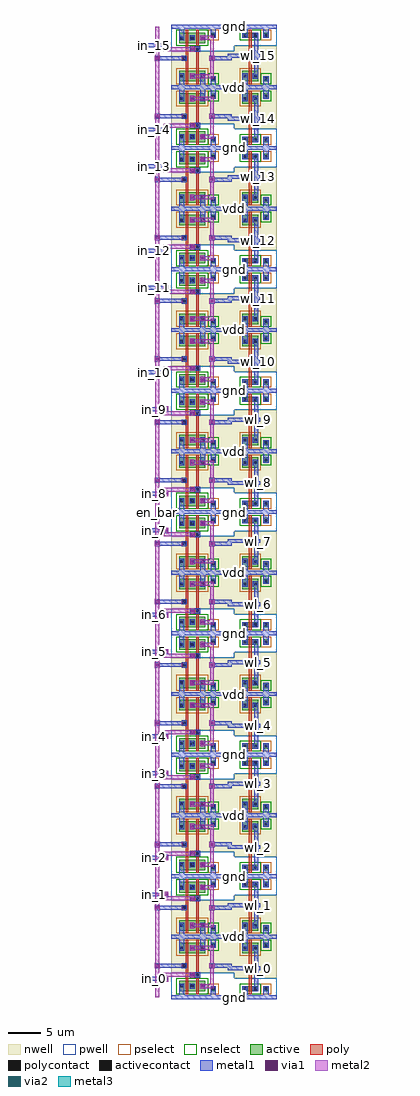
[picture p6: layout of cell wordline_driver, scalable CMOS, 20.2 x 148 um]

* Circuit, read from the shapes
.subckt wordline_driver en_bar gnd in_0 in_1 in_10 in_11 in_12 in_13 in_14 in_15 in_2 in_3 in_4 in_5 in_6 in_7 in_8 in_9 vdd wl_0 wl_1 wl_10 wl_11 wl_12 wl_13 wl_14 wl_15 wl_2 wl_3 wl_4 wl_5 wl_6 wl_7 wl_8 wl_9
M1 pnand2_3_0/nmos_m1_w1_6_a_p_2/D en_bar gnd gnd nfet w=1.6u l=0.4u
M2 pnand2_3_2/nmos_m1_w1_6_a_p_2/D en_bar gnd gnd nfet w=1.6u l=0.4u
M3 pnand2_3_4/nmos_m1_w1_6_a_p_2/D en_bar gnd gnd nfet w=1.6u l=0.4u
M4 pnand2_3_6/nmos_m1_w1_6_a_p_2/D en_bar gnd gnd nfet w=1.6u l=0.4u
M5 pnand2_3_8/nmos_m1_w1_6_a_p_2/D en_bar gnd gnd nfet w=1.6u l=0.4u
M6 pnand2_3_10/nmos_m1_w1_6_a_p_2/D en_bar gnd gnd nfet w=1.6u l=0.4u
M7 pnand2_3_12/nmos_m1_w1_6_a_p_2/D en_bar gnd gnd nfet w=1.6u l=0.4u
M8 pnand2_3_14/nmos_m1_w1_6_a_p_2/D en_bar gnd gnd nfet w=1.6u l=0.4u
M9 pnand2_3_16/nmos_m1_w1_6_a_p_2/D en_bar gnd gnd nfet w=1.6u l=0.4u
M10 pnand2_3_18/nmos_m1_w1_6_a_p_2/D en_bar gnd gnd nfet w=1.6u l=0.4u
M11 pnand2_3_20/nmos_m1_w1_6_a_p_2/D en_bar gnd gnd nfet w=1.6u l=0.4u
M12 pnand2_3_22/nmos_m1_w1_6_a_p_2/D en_bar gnd gnd nfet w=1.6u l=0.4u
M13 pnand2_3_24/nmos_m1_w1_6_a_p_2/D en_bar gnd gnd nfet w=1.6u l=0.4u
M14 pnand2_3_26/nmos_m1_w1_6_a_p_2/D en_bar gnd gnd nfet w=1.6u l=0.4u
M15 pnand2_3_28/nmos_m1_w1_6_a_p_2/D en_bar gnd gnd nfet w=1.6u l=0.4u
M16 pnand2_3_30/nmos_m1_w1_6_a_p_2/D en_bar gnd gnd nfet w=1.6u l=0.4u
M17 pinv_4_1/A in_0 pnand2_3_0/nmos_m1_w1_6_a_p_2/D gnd nfet w=1.6u l=0.4u
M18 pinv_4_3/A in_1 pnand2_3_2/nmos_m1_w1_6_a_p_2/D gnd nfet w=1.6u l=0.4u
M19 pinv_4_5/A in_2 pnand2_3_4/nmos_m1_w1_6_a_p_2/D gnd nfet w=1.6u l=0.4u
M20 pinv_4_7/A in_3 pnand2_3_6/nmos_m1_w1_6_a_p_2/D gnd nfet w=1.6u l=0.4u
M21 pinv_4_9/A in_4 pnand2_3_8/nmos_m1_w1_6_a_p_2/D gnd nfet w=1.6u l=0.4u
M22 pinv_4_11/A in_5 pnand2_3_10/nmos_m1_w1_6_a_p_2/D gnd nfet w=1.6u l=0.4u
M23 pinv_4_13/A in_6 pnand2_3_12/nmos_m1_w1_6_a_p_2/D gnd nfet w=1.6u l=0.4u
M24 pinv_4_15/A in_7 pnand2_3_14/nmos_m1_w1_6_a_p_2/D gnd nfet w=1.6u l=0.4u
M25 pinv_4_17/A in_8 pnand2_3_16/nmos_m1_w1_6_a_p_2/D gnd nfet w=1.6u l=0.4u
M26 pinv_4_19/A in_9 pnand2_3_18/nmos_m1_w1_6_a_p_2/D gnd nfet w=1.6u l=0.4u
M27 pinv_4_21/A in_10 pnand2_3_20/nmos_m1_w1_6_a_p_2/D gnd nfet w=1.6u l=0.4u
M28 pinv_4_23/A in_11 pnand2_3_22/nmos_m1_w1_6_a_p_2/D gnd nfet w=1.6u l=0.4u
M29 pinv_4_25/A in_12 pnand2_3_24/nmos_m1_w1_6_a_p_2/D gnd nfet w=1.6u l=0.4u
M30 pinv_4_27/A in_13 pnand2_3_26/nmos_m1_w1_6_a_p_2/D gnd nfet w=1.6u l=0.4u
M31 pinv_4_29/A in_14 pnand2_3_28/nmos_m1_w1_6_a_p_2/D gnd nfet w=1.6u l=0.4u
M32 pinv_4_31/A in_15 pnand2_3_30/nmos_m1_w1_6_a_p_2/D gnd nfet w=1.6u l=0.4u
M33 wl_0 pinv_4_1/A gnd gnd nfet w=0.8u l=0.4u
M34 wl_1 pinv_4_3/A gnd gnd nfet w=0.8u l=0.4u
M35 wl_2 pinv_4_5/A gnd gnd nfet w=0.8u l=0.4u
M36 wl_3 pinv_4_7/A gnd gnd nfet w=0.8u l=0.4u
M37 wl_4 pinv_4_9/A gnd gnd nfet w=0.8u l=0.4u
M38 wl_5 pinv_4_11/A gnd gnd nfet w=0.8u l=0.4u
M39 wl_6 pinv_4_13/A gnd gnd nfet w=0.8u l=0.4u
M40 wl_7 pinv_4_15/A gnd gnd nfet w=0.8u l=0.4u
M41 wl_8 pinv_4_17/A gnd gnd nfet w=0.8u l=0.4u
M42 wl_9 pinv_4_19/A gnd gnd nfet w=0.8u l=0.4u
M43 wl_10 pinv_4_21/A gnd gnd nfet w=0.8u l=0.4u
M44 wl_11 pinv_4_23/A gnd gnd nfet w=0.8u l=0.4u
M45 wl_12 pinv_4_25/A gnd gnd nfet w=0.8u l=0.4u
M46 wl_13 pinv_4_27/A gnd gnd nfet w=0.8u l=0.4u
M47 wl_14 pinv_4_29/A gnd gnd nfet w=0.8u l=0.4u
M48 wl_15 pinv_4_31/A gnd gnd nfet w=0.8u l=0.4u
M49 pinv_4_1/A en_bar vdd vdd pfet w=1.6u l=0.4u
M50 pinv_4_3/A en_bar vdd vdd pfet w=1.6u l=0.4u
M51 pinv_4_5/A en_bar vdd vdd pfet w=1.6u l=0.4u
M52 pinv_4_7/A en_bar vdd vdd pfet w=1.6u l=0.4u
M53 pinv_4_9/A en_bar vdd vdd pfet w=1.6u l=0.4u
M54 pinv_4_11/A en_bar vdd vdd pfet w=1.6u l=0.4u
M55 pinv_4_13/A en_bar vdd vdd pfet w=1.6u l=0.4u
M56 pinv_4_15/A en_bar vdd vdd pfet w=1.6u l=0.4u
M57 pinv_4_17/A en_bar vdd vdd pfet w=1.6u l=0.4u
M58 pinv_4_19/A en_bar vdd vdd pfet w=1.6u l=0.4u
M59 pinv_4_21/A en_bar vdd vdd pfet w=1.6u l=0.4u
M60 pinv_4_23/A en_bar vdd vdd pfet w=1.6u l=0.4u
M61 pinv_4_25/A en_bar vdd vdd pfet w=1.6u l=0.4u
M62 pinv_4_27/A en_bar vdd vdd pfet w=1.6u l=0.4u
M63 pinv_4_29/A en_bar vdd vdd pfet w=1.6u l=0.4u
M64 pinv_4_31/A en_bar vdd vdd pfet w=1.6u l=0.4u
M65 vdd in_0 pinv_4_1/A vdd pfet w=1.6u l=0.4u
M66 vdd in_1 pinv_4_3/A vdd pfet w=1.6u l=0.4u
M67 vdd in_2 pinv_4_5/A vdd pfet w=1.6u l=0.4u
M68 vdd in_3 pinv_4_7/A vdd pfet w=1.6u l=0.4u
M69 vdd in_4 pinv_4_9/A vdd pfet w=1.6u l=0.4u
M70 vdd in_5 pinv_4_11/A vdd pfet w=1.6u l=0.4u
M71 vdd in_6 pinv_4_13/A vdd pfet w=1.6u l=0.4u
M72 vdd in_7 pinv_4_15/A vdd pfet w=1.6u l=0.4u
M73 vdd in_8 pinv_4_17/A vdd pfet w=1.6u l=0.4u
M74 vdd in_9 pinv_4_19/A vdd pfet w=1.6u l=0.4u
M75 vdd in_10 pinv_4_21/A vdd pfet w=1.6u l=0.4u
M76 vdd in_11 pinv_4_23/A vdd pfet w=1.6u l=0.4u
M77 vdd in_12 pinv_4_25/A vdd pfet w=1.6u l=0.4u
M78 vdd in_13 pinv_4_27/A vdd pfet w=1.6u l=0.4u
M79 vdd in_14 pinv_4_29/A vdd pfet w=1.6u l=0.4u
M80 vdd in_15 pinv_4_31/A vdd pfet w=1.6u l=0.4u
M81 wl_0 pinv_4_1/A vdd vdd pfet w=1.6u l=0.4u
M82 wl_1 pinv_4_3/A vdd vdd pfet w=1.6u l=0.4u
M83 wl_2 pinv_4_5/A vdd vdd pfet w=1.6u l=0.4u
M84 wl_3 pinv_4_7/A vdd vdd pfet w=1.6u l=0.4u
M85 wl_4 pinv_4_9/A vdd vdd pfet w=1.6u l=0.4u
M86 wl_5 pinv_4_11/A vdd vdd pfet w=1.6u l=0.4u
M87 wl_6 pinv_4_13/A vdd vdd pfet w=1.6u l=0.4u
M88 wl_7 pinv_4_15/A vdd vdd pfet w=1.6u l=0.4u
M89 wl_8 pinv_4_17/A vdd vdd pfet w=1.6u l=0.4u
M90 wl_9 pinv_4_19/A vdd vdd pfet w=1.6u l=0.4u
M91 wl_10 pinv_4_21/A vdd vdd pfet w=1.6u l=0.4u
M92 wl_11 pinv_4_23/A vdd vdd pfet w=1.6u l=0.4u
M93 wl_12 pinv_4_25/A vdd vdd pfet w=1.6u l=0.4u
M94 wl_13 pinv_4_27/A vdd vdd pfet w=1.6u l=0.4u
M95 wl_14 pinv_4_29/A vdd vdd pfet w=1.6u l=0.4u
M96 wl_15 pinv_4_31/A vdd vdd pfet w=1.6u l=0.4u
.ends

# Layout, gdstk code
from math import pi, radians
import gdstk
lib = gdstk.Library(unit=1e-6, precision=1e-09)
def R(c, l, rs):  # rectangles x0, y0, x1, y1
    for r in rs: c.add(gdstk.rectangle(r[:2], r[2:], *l))
def A(c, l, x, y, w, h, nx, ny, dx, dy):  # array of equal rectangles
    R(c, l, [(x+i*dx, y+j*dy, x+i*dx+w, y+j*dy+h) for i in range(nx) for j in range(ny)])
pwell = (41, 0)
nwell = (42, 0)
active = (43, 0)
pselect = (44, 0)
nselect = (45, 0)
poly = (46, 0)
polycontact = (47, 0)
activecontact = (48, 0)
metal1 = (49, 0)
via1 = (50, 0)
metal2 = (51, 0)
via2 = (61, 0)
metal3 = (62, 0)

active_contact_metal1_1x = lib.new_cell('active_contact_metal1_1x1_pn')
R(active_contact_metal1_1x, nwell, [(-1.2,-1.2,2,2)])
R(active_contact_metal1_1x, active, [(0,0,0.8,0.8)])
R(active_contact_metal1_1x, pselect, [(-0.4,-0.4,1.2,1.2)])
R(active_contact_metal1_1x, activecontact, [(0.2,0.2,0.6,0.6)])
R(active_contact_metal1_1x, metal1, [(0,0,0.8,0.8)])

pmos_m1_w1_6_a_p = lib.new_cell('pmos_m1_w1_6_a_p')
R(pmos_m1_w1_6_a_p, nwell, [(-1.2,-1.2,3.6,2.8)])
R(pmos_m1_w1_6_a_p, active, [(0,0,2.4,1.6)])
R(pmos_m1_w1_6_a_p, pselect, [(-0.4,-0.4,2.8,2)])
R(pmos_m1_w1_6_a_p, poly, [(1,-0.4,1.4,2), (1,-0.4,1.4,2)])
R(pmos_m1_w1_6_a_p, metal1, [(0,0.4,0.8,1.2), (1.6,0.4,2.4,1.2)])
pmos_m1_w1_6_a_p.add(gdstk.Reference(active_contact_metal1_1x, (0,0.4)))
pmos_m1_w1_6_a_p.add(gdstk.Reference(active_contact_metal1_1x, (1.6,0.4)))
pmos_m1_w1_6_a_p.add(gdstk.Label('G', (1.2,0.8), layer=46, texttype=0))
pmos_m1_w1_6_a_p.add(gdstk.Label('S', (0.4,0.8), layer=49, texttype=0))
pmos_m1_w1_6_a_p.add(gdstk.Label('D', (2,0.8), layer=49, texttype=0))

c_active_contact_metal1_1x = lib.new_cell('active_contact_metal1_1x1_np')
R(c_active_contact_metal1_1x, pwell, [(-1.2,-1.2,2,2)])
R(c_active_contact_metal1_1x, active, [(0,0,0.8,0.8)])
R(c_active_contact_metal1_1x, nselect, [(-0.4,-0.4,1.2,1.2)])
R(c_active_contact_metal1_1x, activecontact, [(0.2,0.2,0.6,0.6)])
R(c_active_contact_metal1_1x, metal1, [(0,0,0.8,0.8)])

nmos_m1_w1_6_a_p = lib.new_cell('nmos_m1_w1_6_a_p')
R(nmos_m1_w1_6_a_p, pwell, [(-1.2,-1.2,3.6,2.8)])
R(nmos_m1_w1_6_a_p, active, [(0,0,2.4,1.6)])
R(nmos_m1_w1_6_a_p, nselect, [(-0.4,-0.4,2.8,2)])
R(nmos_m1_w1_6_a_p, poly, [(1,-0.4,1.4,2), (1,-0.4,1.4,2)])
R(nmos_m1_w1_6_a_p, metal1, [(0,0.4,0.8,1.2), (1.6,0.4,2.4,1.2)])
nmos_m1_w1_6_a_p.add(gdstk.Reference(c_active_contact_metal1_1x, (0,0.4)))
nmos_m1_w1_6_a_p.add(gdstk.Reference(c_active_contact_metal1_1x, (1.6,0.4)))
nmos_m1_w1_6_a_p.add(gdstk.Label('G', (1.2,0.8), layer=46, texttype=0))
nmos_m1_w1_6_a_p.add(gdstk.Label('S', (0.4,0.8), layer=49, texttype=0))
nmos_m1_w1_6_a_p.add(gdstk.Label('D', (2,0.8), layer=49, texttype=0))

c_active_contact_metal1_1x_ = lib.new_cell('active_contact_metal1_1x1_nn')
R(c_active_contact_metal1_1x_, nwell, [(-1.2,-1.2,2,2)])
R(c_active_contact_metal1_1x_, active, [(0,0,0.8,0.8)])
R(c_active_contact_metal1_1x_, nselect, [(-0.4,-0.4,1.2,1.2)])
R(c_active_contact_metal1_1x_, activecontact, [(0.2,0.2,0.6,0.6)])
R(c_active_contact_metal1_1x_, metal1, [(0,0,0.8,0.8)])

c_active_contact_metal1_1x__ = lib.new_cell('active_contact_metal1_1x1_pp')
R(c_active_contact_metal1_1x__, pwell, [(-1.2,-1.2,2,2)])
R(c_active_contact_metal1_1x__, active, [(0,0,0.8,0.8)])
R(c_active_contact_metal1_1x__, pselect, [(-0.4,-0.4,1.2,1.2)])
R(c_active_contact_metal1_1x__, activecontact, [(0.2,0.2,0.6,0.6)])
R(c_active_contact_metal1_1x__, metal1, [(0,0,0.8,0.8)])

poly_contact_metal1_1x1 = lib.new_cell('poly_contact_metal1_1x1')
R(poly_contact_metal1_1x1, poly, [(0,0,0.8,0.8)])
R(poly_contact_metal1_1x1, polycontact, [(0.2,0.2,0.6,0.6)])
R(poly_contact_metal1_1x1, metal1, [(0,0,0.8,0.8)])

metal1_via1_metal2_1x1 = lib.new_cell('metal1_via1_metal2_1x1')
R(metal1_via1_metal2_1x1, metal1, [(0,0,0.8,0.8)])
R(metal1_via1_metal2_1x1, via1, [(0.2,0.2,0.6,0.6)])
R(metal1_via1_metal2_1x1, metal2, [(0,0,0.8,0.8)])

pnand2_3 = lib.new_cell('pnand2_3')
R(pnand2_3, pwell, [(0,-0.3,9.6,3.7)])
R(pnand2_3, nwell, [(0,3.7,9.6,9.5)])
R(pnand2_3, poly, [(2.2,0.5,2.6,6.3), (3.8,0.5,4.2,6.3), (3.8,3,4,3.8), (2,4.4,2.2,5.2)])
R(pnand2_3, metal1, [(0,-0.3,9.6,0.3), (1.2,-0.3,2,1.3), (6,0,6.8,1.3), (3.6,3,4.4,3.8), (1.6,4.4,2.4,5.2), (5.8,4.4,6.6,5.2), (1.2,7.1,2,9.5), (4.4,7.1,5.2,9.5), (6,7.9,6.8,9.2), (0,8.9,9.6,9.5)])
R(pnand2_3, metal2, [(4.8,1.4,6.2,2), (5.9,1.4,6.5,2), (5.9,1.7,6.5,4.8), (5.9,4.8,6.5,7.5), (3.2,7.2,6.2,7.8), (5.9,7.2,6.5,7.8)])
pnand2_3.add(gdstk.Reference(pmos_m1_w1_6_a_p, (1.2,6.7)))
pnand2_3.add(gdstk.Reference(pmos_m1_w1_6_a_p, (2.8,6.7)))
pnand2_3.add(gdstk.Reference(nmos_m1_w1_6_a_p, (1.2,0.9)))
pnand2_3.add(gdstk.Reference(nmos_m1_w1_6_a_p, (2.8,0.9)))
pnand2_3.add(gdstk.Reference(c_active_contact_metal1_1x_, (6,7.5)))
pnand2_3.add(gdstk.Reference(c_active_contact_metal1_1x__, (6,0.9)))
pnand2_3.add(gdstk.Reference(poly_contact_metal1_1x1, (4.4,3), rotation=pi/2))
pnand2_3.add(gdstk.Reference(poly_contact_metal1_1x1, (2.4,4.4), rotation=pi/2))
pnand2_3.add(gdstk.Reference(metal1_via1_metal2_1x1, (2.8,7.1)))
pnand2_3.add(gdstk.Reference(metal1_via1_metal2_1x1, (4.4,1.3)))
pnand2_3.add(gdstk.Reference(metal1_via1_metal2_1x1, (6.6,4.4), rotation=pi/2))
pnand2_3.add(gdstk.Label('gnd', (4.8,0), layer=49, texttype=0))
pnand2_3.add(gdstk.Label('vdd', (4.8,9.2), layer=49, texttype=0))
pnand2_3.add(gdstk.Label('B', (4,3.4), layer=49, texttype=0))
pnand2_3.add(gdstk.Label('A', (2,4.8), layer=49, texttype=0))
pnand2_3.add(gdstk.Label('Z', (6.2,4.8), layer=49, texttype=0))

nmos_m1_w0_8_a_p = lib.new_cell('nmos_m1_w0_8_a_p')
R(nmos_m1_w0_8_a_p, pwell, [(-1.2,-1.2,3.6,2)])
R(nmos_m1_w0_8_a_p, active, [(0,0,2.4,0.8)])
R(nmos_m1_w0_8_a_p, nselect, [(-0.4,-0.4,2.8,1.2)])
R(nmos_m1_w0_8_a_p, poly, [(1,-0.4,1.4,1.2), (1,-0.4,1.4,1.2)])
R(nmos_m1_w0_8_a_p, metal1, [(0,0,0.8,0.8), (1.6,0,2.4,0.8)])
nmos_m1_w0_8_a_p.add(gdstk.Reference(c_active_contact_metal1_1x, (0,0)))
nmos_m1_w0_8_a_p.add(gdstk.Reference(c_active_contact_metal1_1x, (1.6,0)))
nmos_m1_w0_8_a_p.add(gdstk.Label('G', (1.2,0.4), layer=46, texttype=0))
nmos_m1_w0_8_a_p.add(gdstk.Label('S', (0.4,0.4), layer=49, texttype=0))
nmos_m1_w0_8_a_p.add(gdstk.Label('D', (2,0.4), layer=49, texttype=0))

pinv_4 = lib.new_cell('pinv_4')
R(pinv_4, pwell, [(0,-0.3,6.4,2.9)])
R(pinv_4, nwell, [(0,2.9,6.4,9.5)])
R(pinv_4, poly, [(2.2,0.5,2.6,6.3), (2,4,2.2,4.8)])
R(pinv_4, metal1, [(0,-0.3,6.4,0.3), (1.2,-0.3,2,0.9), (4.4,0,5.2,1.3), (3,0.9,3.6,7.1), (1.6,4,2.4,4.8), (3.3,4.1,3.9,4.7), (1.2,7.1,2,9.5), (4.4,7.9,5.2,9.2), (0,8.9,6.4,9.5)])
pinv_4.add(gdstk.Reference(pmos_m1_w1_6_a_p, (1.2,6.7)))
pinv_4.add(gdstk.Reference(nmos_m1_w0_8_a_p, (1.2,0.9)))
pinv_4.add(gdstk.Reference(c_active_contact_metal1_1x_, (4.4,7.5)))
pinv_4.add(gdstk.Reference(c_active_contact_metal1_1x__, (4.4,0.9)))
pinv_4.add(gdstk.Reference(poly_contact_metal1_1x1, (1.6,4)))
pinv_4.add(gdstk.Label('gnd', (3.2,0), layer=49, texttype=0))
pinv_4.add(gdstk.Label('vdd', (3.2,9.2), layer=49, texttype=0))
pinv_4.add(gdstk.Label('A', (2,4.4), layer=49, texttype=0))
pinv_4.add(gdstk.Label('Z', (3.6,4.4), layer=49, texttype=0))

metal2_via2_metal3_1x1 = lib.new_cell('metal2_via2_metal3_1x1')
R(metal2_via2_metal3_1x1, metal2, [(0,0,0.8,0.8)])
R(metal2_via2_metal3_1x1, via2, [(0.2,0.2,0.6,0.6)])
R(metal2_via2_metal3_1x1, metal3, [(0,0,0.8,0.8)])

wordline_driver = lib.new_cell('wordline_driver')
A(wordline_driver, metal1, 11.1, 4.8, 0.6, 0.4, 1, 16, 0, 9.2)
R(wordline_driver, metal1, [(-1.7,2.9,1.7,3.5), (11.1,4.5,11.7,5.1), (11.4,4.5,13.7,5.1), (15.4,4.5,16,5.1), (0.4,4.9,4.1,5.5), (9.1,4.9,11.4,5.5), (11.1,4.9,11.7,5.5), (0.4,13.7,4.1,14.3), (9.1,13.7,11.4,14.3), (11.1,13.7,11.7,14.3), (11.1,14.1,11.7,14.7), (11.4,14.1,13.7,14.7), (15.4,14.1,16,14.7), (-1.7,15.7,1.7,16.3), (-1.7,21.3,1.7,21.9), (11.1,22.9,11.7,23.5), (11.4,22.9,13.7,23.5), (15.4,22.9,16,23.5), (0.4,23.3,4.1,23.9), (9.1,23.3,11.4,23.9), (11.1,23.3,11.7,23.9), (0.4,32.1,4.1,32.7), (9.1,32.1,11.4,32.7), (11.1,32.1,11.7,32.7), (11.1,32.5,11.7,33.1), (11.4,32.5,13.7,33.1), (15.4,32.5,16,33.1), (-1.7,34.1,1.7,34.7), (-1.7,39.7,1.7,40.3), (11.1,41.3,11.7,41.9), (11.4,41.3,13.7,41.9), (15.4,41.3,16,41.9), (0.4,41.7,4.1,42.3), (9.1,41.7,11.4,42.3), (11.1,41.7,11.7,42.3), (0.4,50.5,4.1,51.1), (9.1,50.5,11.4,51.1), (11.1,50.5,11.7,51.1), (11.1,50.9,11.7,51.5), (11.4,50.9,13.7,51.5), (15.4,50.9,16,51.5), (-1.7,52.5,1.7,53.1), (-1.7,58.1,1.7,58.7), (11.1,59.7,11.7,60.3), (11.4,59.7,13.7,60.3), (15.4,59.7,16,60.3), (0.4,60.1,4.1,60.7), (9.1,60.1,11.4,60.7), (11.1,60.1,11.7,60.7), (0.4,68.9,4.1,69.5), (9.1,68.9,11.4,69.5), (11.1,68.9,11.7,69.5), (11.1,69.3,11.7,69.9), (11.4,69.3,13.7,69.9), (15.4,69.3,16,69.9), (-1.7,70.9,1.7,71.5), (-1.7,76.5,1.7,77.1), (11.1,78.1,11.7,78.7), (11.4,78.1,13.7,78.7), (15.4,78.1,16,78.7), (0.4,78.5,4.1,79.1), (9.1,78.5,11.4,79.1), (11.1,78.5,11.7,79.1), (0.4,87.3,4.1,87.9), (9.1,87.3,11.4,87.9), (11.1,87.3,11.7,87.9), (11.1,87.7,11.7,88.3), (11.4,87.7,13.7,88.3), (15.4,87.7,16,88.3), (-1.7,89.3,1.7,89.9), (-1.7,94.9,1.7,95.5), (11.1,96.5,11.7,97.1), (11.4,96.5,13.7,97.1), (15.4,96.5,16,97.1), (0.4,96.9,4.1,97.5), (9.1,96.9,11.4,97.5), (11.1,96.9,11.7,97.5), (0.4,105.7,4.1,106.3), (9.1,105.7,11.4,106.3), (11.1,105.7,11.7,106.3), (11.1,106.1,11.7,106.7), (11.4,106.1,13.7,106.7), (15.4,106.1,16,106.7), (-1.7,107.7,1.7,108.3), (-1.7,113.3,1.7,113.9), (11.1,114.9,11.7,115.5), (11.4,114.9,13.7,115.5), (15.4,114.9,16,115.5), (0.4,115.3,4.1,115.9), (9.1,115.3,11.4,115.9), (11.1,115.3,11.7,115.9), (0.4,124.1,4.1,124.7), (9.1,124.1,11.4,124.7), (11.1,124.1,11.7,124.7), (11.1,124.5,11.7,125.1), (11.4,124.5,13.7,125.1), (15.4,124.5,16,125.1), (-1.7,126.1,1.7,126.7), (-1.7,131.7,1.7,132.3), (11.1,133.3,11.7,133.9), (11.4,133.3,13.7,133.9), (15.4,133.3,16,133.9), (0.4,133.7,4.1,134.3), (9.1,133.7,11.4,134.3), (11.1,133.7,11.7,134.3), (0.4,142.5,4.1,143.1), (9.1,142.5,11.4,143.1), (11.1,142.5,11.7,143.1), (11.1,142.9,11.7,143.5), (11.4,142.9,13.7,143.5), (15.4,142.9,16,143.5), (-1.7,144.5,1.7,145.1)])
R(wordline_driver, metal2, [(0.1,0.4,0.7,147.6), (1.4,3.2,2,3.8), (1.4,3.5,2,4.1), (1.7,3.5,6.1,4.1), (1.4,15.1,2,15.7), (1.7,15.1,6.1,15.7), (1.4,15.4,2,16), (1.4,21.6,2,22.2), (1.4,21.9,2,22.5), (1.7,21.9,6.1,22.5), (1.4,33.5,2,34.1), (1.7,33.5,6.1,34.1), (1.4,33.8,2,34.4), (1.4,40,2,40.6), (1.4,40.3,2,40.9), (1.7,40.3,6.1,40.9), (1.4,51.9,2,52.5), (1.7,51.9,6.1,52.5), (1.4,52.2,2,52.8), (1.4,58.4,2,59), (1.4,58.7,2,59.3), (1.7,58.7,6.1,59.3), (1.4,70.3,2,70.9), (1.7,70.3,6.1,70.9), (1.4,70.6,2,71.2), (1.4,76.8,2,77.4), (1.4,77.1,2,77.7), (1.7,77.1,6.1,77.7), (1.4,88.7,2,89.3), (1.7,88.7,6.1,89.3), (1.4,89,2,89.6), (1.4,95.2,2,95.8), (1.4,95.5,2,96.1), (1.7,95.5,6.1,96.1), (1.4,107.1,2,107.7), (1.7,107.1,6.1,107.7), (1.4,107.4,2,108), (1.4,113.6,2,114.2), (1.4,113.9,2,114.5), (1.7,113.9,6.1,114.5), (1.4,125.5,2,126.1), (1.7,125.5,6.1,126.1), (1.4,125.8,2,126.4), (1.4,132,2,132.6), (1.4,132.3,2,132.9), (1.7,132.3,6.1,132.9), (1.4,143.9,2,144.5), (1.7,143.9,6.1,144.5), (1.4,144.2,2,144.8)])
A(wordline_driver, metal3, 11.8, 0.1, 0.6, 0.6, 1, 17, 0, 9.2)
wordline_driver.add(gdstk.Reference(pnand2_3, (2.5,0.4)))
wordline_driver.add(gdstk.Reference(pinv_4, (12.1,0.4)))
wordline_driver.add(gdstk.Reference(pnand2_3, (2.5,18.8), x_reflection=True))
wordline_driver.add(gdstk.Reference(pinv_4, (12.1,18.8), x_reflection=True))
wordline_driver.add(gdstk.Reference(pnand2_3, (2.5,18.8)))
wordline_driver.add(gdstk.Reference(pinv_4, (12.1,18.8)))
wordline_driver.add(gdstk.Reference(pnand2_3, (2.5,37.2), x_reflection=True))
wordline_driver.add(gdstk.Reference(pinv_4, (12.1,37.2), x_reflection=True))
wordline_driver.add(gdstk.Reference(pnand2_3, (2.5,37.2)))
wordline_driver.add(gdstk.Reference(pinv_4, (12.1,37.2)))
wordline_driver.add(gdstk.Reference(pnand2_3, (2.5,55.6), x_reflection=True))
wordline_driver.add(gdstk.Reference(pinv_4, (12.1,55.6), x_reflection=True))
wordline_driver.add(gdstk.Reference(pnand2_3, (2.5,55.6)))
wordline_driver.add(gdstk.Reference(pinv_4, (12.1,55.6)))
wordline_driver.add(gdstk.Reference(pnand2_3, (2.5,74), x_reflection=True))
wordline_driver.add(gdstk.Reference(pinv_4, (12.1,74), x_reflection=True))
wordline_driver.add(gdstk.Reference(pnand2_3, (2.5,74)))
wordline_driver.add(gdstk.Reference(pinv_4, (12.1,74)))
wordline_driver.add(gdstk.Reference(pnand2_3, (2.5,92.4), x_reflection=True))
wordline_driver.add(gdstk.Reference(pinv_4, (12.1,92.4), x_reflection=True))
wordline_driver.add(gdstk.Reference(pnand2_3, (2.5,92.4)))
wordline_driver.add(gdstk.Reference(pinv_4, (12.1,92.4)))
wordline_driver.add(gdstk.Reference(pnand2_3, (2.5,110.8), x_reflection=True))
wordline_driver.add(gdstk.Reference(pinv_4, (12.1,110.8), x_reflection=True))
wordline_driver.add(gdstk.Reference(pnand2_3, (2.5,110.8)))
wordline_driver.add(gdstk.Reference(pinv_4, (12.1,110.8)))
wordline_driver.add(gdstk.Reference(pnand2_3, (2.5,129.2), x_reflection=True))
wordline_driver.add(gdstk.Reference(pinv_4, (12.1,129.2), x_reflection=True))
wordline_driver.add(gdstk.Reference(pnand2_3, (2.5,129.2)))
wordline_driver.add(gdstk.Reference(pinv_4, (12.1,129.2)))
wordline_driver.add(gdstk.Reference(pnand2_3, (2.5,147.6), x_reflection=True))
wordline_driver.add(gdstk.Reference(pinv_4, (12.1,147.6), x_reflection=True))
wordline_driver.add(gdstk.Reference(metal1_via1_metal2_1x1, (0,4.8)))
wordline_driver.add(gdstk.Reference(metal1_via1_metal2_1x1, (1.3,2.8)))
wordline_driver.add(gdstk.Reference(metal1_via1_metal2_1x1, (6.1,3.4), rotation=pi/2))
wordline_driver.add(gdstk.Reference(metal1_via1_metal2_1x1, (0,13.6)))
wordline_driver.add(gdstk.Reference(metal1_via1_metal2_1x1, (1.3,15.6)))
wordline_driver.add(gdstk.Reference(metal1_via1_metal2_1x1, (6.1,15), rotation=pi/2))
wordline_driver.add(gdstk.Reference(metal1_via1_metal2_1x1, (0,23.2)))
wordline_driver.add(gdstk.Reference(metal1_via1_metal2_1x1, (1.3,21.2)))
wordline_driver.add(gdstk.Reference(metal1_via1_metal2_1x1, (6.1,21.8), rotation=pi/2))
wordline_driver.add(gdstk.Reference(metal1_via1_metal2_1x1, (0,32)))
wordline_driver.add(gdstk.Reference(metal1_via1_metal2_1x1, (1.3,34)))
wordline_driver.add(gdstk.Reference(metal1_via1_metal2_1x1, (6.1,33.4), rotation=pi/2))
wordline_driver.add(gdstk.Reference(metal1_via1_metal2_1x1, (0,41.6)))
wordline_driver.add(gdstk.Reference(metal1_via1_metal2_1x1, (1.3,39.6)))
wordline_driver.add(gdstk.Reference(metal1_via1_metal2_1x1, (6.1,40.2), rotation=pi/2))
wordline_driver.add(gdstk.Reference(metal1_via1_metal2_1x1, (0,50.4)))
wordline_driver.add(gdstk.Reference(metal1_via1_metal2_1x1, (1.3,52.4)))
wordline_driver.add(gdstk.Reference(metal1_via1_metal2_1x1, (6.1,51.8), rotation=pi/2))
wordline_driver.add(gdstk.Reference(metal1_via1_metal2_1x1, (0,60)))
wordline_driver.add(gdstk.Reference(metal1_via1_metal2_1x1, (1.3,58)))
wordline_driver.add(gdstk.Reference(metal1_via1_metal2_1x1, (6.1,58.6), rotation=pi/2))
wordline_driver.add(gdstk.Reference(metal1_via1_metal2_1x1, (0,68.8)))
wordline_driver.add(gdstk.Reference(metal1_via1_metal2_1x1, (1.3,70.8)))
wordline_driver.add(gdstk.Reference(metal1_via1_metal2_1x1, (6.1,70.2), rotation=pi/2))
wordline_driver.add(gdstk.Reference(metal1_via1_metal2_1x1, (0,78.4)))
wordline_driver.add(gdstk.Reference(metal1_via1_metal2_1x1, (1.3,76.4)))
wordline_driver.add(gdstk.Reference(metal1_via1_metal2_1x1, (6.1,77), rotation=pi/2))
wordline_driver.add(gdstk.Reference(metal1_via1_metal2_1x1, (0,87.2)))
wordline_driver.add(gdstk.Reference(metal1_via1_metal2_1x1, (1.3,89.2)))
wordline_driver.add(gdstk.Reference(metal1_via1_metal2_1x1, (6.1,88.6), rotation=pi/2))
wordline_driver.add(gdstk.Reference(metal1_via1_metal2_1x1, (0,96.8)))
wordline_driver.add(gdstk.Reference(metal1_via1_metal2_1x1, (1.3,94.8)))
wordline_driver.add(gdstk.Reference(metal1_via1_metal2_1x1, (6.1,95.4), rotation=pi/2))
wordline_driver.add(gdstk.Reference(metal1_via1_metal2_1x1, (0,105.6)))
wordline_driver.add(gdstk.Reference(metal1_via1_metal2_1x1, (1.3,107.6)))
wordline_driver.add(gdstk.Reference(metal1_via1_metal2_1x1, (6.1,107), rotation=pi/2))
wordline_driver.add(gdstk.Reference(metal1_via1_metal2_1x1, (0,115.2)))
wordline_driver.add(gdstk.Reference(metal1_via1_metal2_1x1, (1.3,113.2)))
wordline_driver.add(gdstk.Reference(metal1_via1_metal2_1x1, (6.1,113.8), rotation=pi/2))
wordline_driver.add(gdstk.Reference(metal1_via1_metal2_1x1, (0,124)))
wordline_driver.add(gdstk.Reference(metal1_via1_metal2_1x1, (1.3,126)))
wordline_driver.add(gdstk.Reference(metal1_via1_metal2_1x1, (6.1,125.4), rotation=pi/2))
wordline_driver.add(gdstk.Reference(metal1_via1_metal2_1x1, (0,133.6)))
wordline_driver.add(gdstk.Reference(metal1_via1_metal2_1x1, (1.3,131.6)))
wordline_driver.add(gdstk.Reference(metal1_via1_metal2_1x1, (6.1,132.2), rotation=pi/2))
wordline_driver.add(gdstk.Reference(metal1_via1_metal2_1x1, (0,142.4)))
wordline_driver.add(gdstk.Reference(metal1_via1_metal2_1x1, (1.3,144.4)))
wordline_driver.add(gdstk.Reference(metal1_via1_metal2_1x1, (6.1,143.8), rotation=pi/2))
wordline_driver.add(gdstk.Reference(metal1_via1_metal2_1x1, (12.5,9.2), rotation=pi/2))
wordline_driver.add(gdstk.Reference(metal2_via2_metal3_1x1, (12.5,9.2), rotation=pi/2))
wordline_driver.add(gdstk.Reference(metal1_via1_metal2_1x1, (12.5,9.2), rotation=pi/2))
wordline_driver.add(gdstk.Reference(metal2_via2_metal3_1x1, (12.5,9.2), rotation=pi/2))
wordline_driver.add(gdstk.Reference(metal1_via1_metal2_1x1, (12.5,0), rotation=pi/2))
wordline_driver.add(gdstk.Reference(metal2_via2_metal3_1x1, (12.5,0), rotation=pi/2))
wordline_driver.add(gdstk.Reference(metal1_via1_metal2_1x1, (12.5,0), rotation=pi/2))
wordline_driver.add(gdstk.Reference(metal2_via2_metal3_1x1, (12.5,0), rotation=pi/2))
wordline_driver.add(gdstk.Reference(metal1_via1_metal2_1x1, (12.5,9.2), rotation=pi/2))
wordline_driver.add(gdstk.Reference(metal2_via2_metal3_1x1, (12.5,9.2), rotation=pi/2))
wordline_driver.add(gdstk.Reference(metal1_via1_metal2_1x1, (12.5,9.2), rotation=pi/2))
wordline_driver.add(gdstk.Reference(metal2_via2_metal3_1x1, (12.5,9.2), rotation=pi/2))
wordline_driver.add(gdstk.Reference(metal1_via1_metal2_1x1, (12.5,18.4), rotation=pi/2))
wordline_driver.add(gdstk.Reference(metal2_via2_metal3_1x1, (12.5,18.4), rotation=pi/2))
wordline_driver.add(gdstk.Reference(metal1_via1_metal2_1x1, (12.5,18.4), rotation=pi/2))
wordline_driver.add(gdstk.Reference(metal2_via2_metal3_1x1, (12.5,18.4), rotation=pi/2))
wordline_driver.add(gdstk.Reference(metal1_via1_metal2_1x1, (12.5,27.6), rotation=pi/2))
wordline_driver.add(gdstk.Reference(metal2_via2_metal3_1x1, (12.5,27.6), rotation=pi/2))
wordline_driver.add(gdstk.Reference(metal1_via1_metal2_1x1, (12.5,27.6), rotation=pi/2))
wordline_driver.add(gdstk.Reference(metal2_via2_metal3_1x1, (12.5,27.6), rotation=pi/2))
wordline_driver.add(gdstk.Reference(metal1_via1_metal2_1x1, (12.5,18.4), rotation=pi/2))
wordline_driver.add(gdstk.Reference(metal2_via2_metal3_1x1, (12.5,18.4), rotation=pi/2))
wordline_driver.add(gdstk.Reference(metal1_via1_metal2_1x1, (12.5,18.4), rotation=pi/2))
wordline_driver.add(gdstk.Reference(metal2_via2_metal3_1x1, (12.5,18.4), rotation=pi/2))
wordline_driver.add(gdstk.Reference(metal1_via1_metal2_1x1, (12.5,27.6), rotation=pi/2))
wordline_driver.add(gdstk.Reference(metal2_via2_metal3_1x1, (12.5,27.6), rotation=pi/2))
wordline_driver.add(gdstk.Reference(metal1_via1_metal2_1x1, (12.5,27.6), rotation=pi/2))
wordline_driver.add(gdstk.Reference(metal2_via2_metal3_1x1, (12.5,27.6), rotation=pi/2))
wordline_driver.add(gdstk.Reference(metal1_via1_metal2_1x1, (12.5,36.8), rotation=pi/2))
wordline_driver.add(gdstk.Reference(metal2_via2_metal3_1x1, (12.5,36.8), rotation=pi/2))
wordline_driver.add(gdstk.Reference(metal1_via1_metal2_1x1, (12.5,36.8), rotation=pi/2))
wordline_driver.add(gdstk.Reference(metal2_via2_metal3_1x1, (12.5,36.8), rotation=pi/2))
wordline_driver.add(gdstk.Reference(metal1_via1_metal2_1x1, (12.5,46), rotation=pi/2))
wordline_driver.add(gdstk.Reference(metal2_via2_metal3_1x1, (12.5,46), rotation=pi/2))
wordline_driver.add(gdstk.Reference(metal1_via1_metal2_1x1, (12.5,46), rotation=pi/2))
wordline_driver.add(gdstk.Reference(metal2_via2_metal3_1x1, (12.5,46), rotation=pi/2))
wordline_driver.add(gdstk.Reference(metal1_via1_metal2_1x1, (12.5,36.8), rotation=pi/2))
wordline_driver.add(gdstk.Reference(metal2_via2_metal3_1x1, (12.5,36.8), rotation=pi/2))
wordline_driver.add(gdstk.Reference(metal1_via1_metal2_1x1, (12.5,36.8), rotation=pi/2))
wordline_driver.add(gdstk.Reference(metal2_via2_metal3_1x1, (12.5,36.8), rotation=pi/2))
wordline_driver.add(gdstk.Reference(metal1_via1_metal2_1x1, (12.5,46), rotation=pi/2))
wordline_driver.add(gdstk.Reference(metal2_via2_metal3_1x1, (12.5,46), rotation=pi/2))
wordline_driver.add(gdstk.Reference(metal1_via1_metal2_1x1, (12.5,46), rotation=pi/2))
wordline_driver.add(gdstk.Reference(metal2_via2_metal3_1x1, (12.5,46), rotation=pi/2))
wordline_driver.add(gdstk.Reference(metal1_via1_metal2_1x1, (12.5,55.2), rotation=pi/2))
wordline_driver.add(gdstk.Reference(metal2_via2_metal3_1x1, (12.5,55.2), rotation=pi/2))
wordline_driver.add(gdstk.Reference(metal1_via1_metal2_1x1, (12.5,55.2), rotation=pi/2))
wordline_driver.add(gdstk.Reference(metal2_via2_metal3_1x1, (12.5,55.2), rotation=pi/2))
wordline_driver.add(gdstk.Reference(metal1_via1_metal2_1x1, (12.5,64.4), rotation=pi/2))
wordline_driver.add(gdstk.Reference(metal2_via2_metal3_1x1, (12.5,64.4), rotation=pi/2))
wordline_driver.add(gdstk.Reference(metal1_via1_metal2_1x1, (12.5,64.4), rotation=pi/2))
wordline_driver.add(gdstk.Reference(metal2_via2_metal3_1x1, (12.5,64.4), rotation=pi/2))
wordline_driver.add(gdstk.Reference(metal1_via1_metal2_1x1, (12.5,55.2), rotation=pi/2))
wordline_driver.add(gdstk.Reference(metal2_via2_metal3_1x1, (12.5,55.2), rotation=pi/2))
wordline_driver.add(gdstk.Reference(metal1_via1_metal2_1x1, (12.5,55.2), rotation=pi/2))
wordline_driver.add(gdstk.Reference(metal2_via2_metal3_1x1, (12.5,55.2), rotation=pi/2))
wordline_driver.add(gdstk.Reference(metal1_via1_metal2_1x1, (12.5,64.4), rotation=pi/2))
wordline_driver.add(gdstk.Reference(metal2_via2_metal3_1x1, (12.5,64.4), rotation=pi/2))
wordline_driver.add(gdstk.Reference(metal1_via1_metal2_1x1, (12.5,64.4), rotation=pi/2))
wordline_driver.add(gdstk.Reference(metal2_via2_metal3_1x1, (12.5,64.4), rotation=pi/2))
wordline_driver.add(gdstk.Reference(metal1_via1_metal2_1x1, (12.5,73.6), rotation=pi/2))
wordline_driver.add(gdstk.Reference(metal2_via2_metal3_1x1, (12.5,73.6), rotation=pi/2))
wordline_driver.add(gdstk.Reference(metal1_via1_metal2_1x1, (12.5,73.6), rotation=pi/2))
wordline_driver.add(gdstk.Reference(metal2_via2_metal3_1x1, (12.5,73.6), rotation=pi/2))
wordline_driver.add(gdstk.Reference(metal1_via1_metal2_1x1, (12.5,82.8), rotation=pi/2))
wordline_driver.add(gdstk.Reference(metal2_via2_metal3_1x1, (12.5,82.8), rotation=pi/2))
wordline_driver.add(gdstk.Reference(metal1_via1_metal2_1x1, (12.5,82.8), rotation=pi/2))
wordline_driver.add(gdstk.Reference(metal2_via2_metal3_1x1, (12.5,82.8), rotation=pi/2))
wordline_driver.add(gdstk.Reference(metal1_via1_metal2_1x1, (12.5,73.6), rotation=pi/2))
wordline_driver.add(gdstk.Reference(metal2_via2_metal3_1x1, (12.5,73.6), rotation=pi/2))
wordline_driver.add(gdstk.Reference(metal1_via1_metal2_1x1, (12.5,73.6), rotation=pi/2))
wordline_driver.add(gdstk.Reference(metal2_via2_metal3_1x1, (12.5,73.6), rotation=pi/2))
wordline_driver.add(gdstk.Reference(metal1_via1_metal2_1x1, (12.5,82.8), rotation=pi/2))
wordline_driver.add(gdstk.Reference(metal2_via2_metal3_1x1, (12.5,82.8), rotation=pi/2))
wordline_driver.add(gdstk.Reference(metal1_via1_metal2_1x1, (12.5,82.8), rotation=pi/2))
wordline_driver.add(gdstk.Reference(metal2_via2_metal3_1x1, (12.5,82.8), rotation=pi/2))
wordline_driver.add(gdstk.Reference(metal1_via1_metal2_1x1, (12.5,92), rotation=pi/2))
wordline_driver.add(gdstk.Reference(metal2_via2_metal3_1x1, (12.5,92), rotation=pi/2))
wordline_driver.add(gdstk.Reference(metal1_via1_metal2_1x1, (12.5,92), rotation=pi/2))
wordline_driver.add(gdstk.Reference(metal2_via2_metal3_1x1, (12.5,92), rotation=pi/2))
wordline_driver.add(gdstk.Reference(metal1_via1_metal2_1x1, (12.5,101.2), rotation=pi/2))
wordline_driver.add(gdstk.Reference(metal2_via2_metal3_1x1, (12.5,101.2), rotation=pi/2))
wordline_driver.add(gdstk.Reference(metal1_via1_metal2_1x1, (12.5,101.2), rotation=pi/2))
wordline_driver.add(gdstk.Reference(metal2_via2_metal3_1x1, (12.5,101.2), rotation=pi/2))
wordline_driver.add(gdstk.Reference(metal1_via1_metal2_1x1, (12.5,92), rotation=pi/2))
wordline_driver.add(gdstk.Reference(metal2_via2_metal3_1x1, (12.5,92), rotation=pi/2))
wordline_driver.add(gdstk.Reference(metal1_via1_metal2_1x1, (12.5,92), rotation=pi/2))
wordline_driver.add(gdstk.Reference(metal2_via2_metal3_1x1, (12.5,92), rotation=pi/2))
wordline_driver.add(gdstk.Reference(metal1_via1_metal2_1x1, (12.5,101.2), rotation=pi/2))
wordline_driver.add(gdstk.Reference(metal2_via2_metal3_1x1, (12.5,101.2), rotation=pi/2))
wordline_driver.add(gdstk.Reference(metal1_via1_metal2_1x1, (12.5,101.2), rotation=pi/2))
wordline_driver.add(gdstk.Reference(metal2_via2_metal3_1x1, (12.5,101.2), rotation=pi/2))
wordline_driver.add(gdstk.Reference(metal1_via1_metal2_1x1, (12.5,110.4), rotation=pi/2))
wordline_driver.add(gdstk.Reference(metal2_via2_metal3_1x1, (12.5,110.4), rotation=pi/2))
wordline_driver.add(gdstk.Reference(metal1_via1_metal2_1x1, (12.5,110.4), rotation=pi/2))
wordline_driver.add(gdstk.Reference(metal2_via2_metal3_1x1, (12.5,110.4), rotation=pi/2))
wordline_driver.add(gdstk.Reference(metal1_via1_metal2_1x1, (12.5,119.6), rotation=pi/2))
wordline_driver.add(gdstk.Reference(metal2_via2_metal3_1x1, (12.5,119.6), rotation=pi/2))
wordline_driver.add(gdstk.Reference(metal1_via1_metal2_1x1, (12.5,119.6), rotation=pi/2))
wordline_driver.add(gdstk.Reference(metal2_via2_metal3_1x1, (12.5,119.6), rotation=pi/2))
wordline_driver.add(gdstk.Reference(metal1_via1_metal2_1x1, (12.5,110.4), rotation=pi/2))
wordline_driver.add(gdstk.Reference(metal2_via2_metal3_1x1, (12.5,110.4), rotation=pi/2))
wordline_driver.add(gdstk.Reference(metal1_via1_metal2_1x1, (12.5,110.4), rotation=pi/2))
wordline_driver.add(gdstk.Reference(metal2_via2_metal3_1x1, (12.5,110.4), rotation=pi/2))
wordline_driver.add(gdstk.Reference(metal1_via1_metal2_1x1, (12.5,119.6), rotation=pi/2))
wordline_driver.add(gdstk.Reference(metal2_via2_metal3_1x1, (12.5,119.6), rotation=pi/2))
wordline_driver.add(gdstk.Reference(metal1_via1_metal2_1x1, (12.5,119.6), rotation=pi/2))
wordline_driver.add(gdstk.Reference(metal2_via2_metal3_1x1, (12.5,119.6), rotation=pi/2))
wordline_driver.add(gdstk.Reference(metal1_via1_metal2_1x1, (12.5,128.8), rotation=pi/2))
wordline_driver.add(gdstk.Reference(metal2_via2_metal3_1x1, (12.5,128.8), rotation=pi/2))
wordline_driver.add(gdstk.Reference(metal1_via1_metal2_1x1, (12.5,128.8), rotation=pi/2))
wordline_driver.add(gdstk.Reference(metal2_via2_metal3_1x1, (12.5,128.8), rotation=pi/2))
wordline_driver.add(gdstk.Reference(metal1_via1_metal2_1x1, (12.5,138), rotation=pi/2))
wordline_driver.add(gdstk.Reference(metal2_via2_metal3_1x1, (12.5,138), rotation=pi/2))
wordline_driver.add(gdstk.Reference(metal1_via1_metal2_1x1, (12.5,138), rotation=pi/2))
wordline_driver.add(gdstk.Reference(metal2_via2_metal3_1x1, (12.5,138), rotation=pi/2))
wordline_driver.add(gdstk.Reference(metal1_via1_metal2_1x1, (12.5,128.8), rotation=pi/2))
wordline_driver.add(gdstk.Reference(metal2_via2_metal3_1x1, (12.5,128.8), rotation=pi/2))
wordline_driver.add(gdstk.Reference(metal1_via1_metal2_1x1, (12.5,128.8), rotation=pi/2))
wordline_driver.add(gdstk.Reference(metal2_via2_metal3_1x1, (12.5,128.8), rotation=pi/2))
wordline_driver.add(gdstk.Reference(metal1_via1_metal2_1x1, (12.5,138), rotation=pi/2))
wordline_driver.add(gdstk.Reference(metal2_via2_metal3_1x1, (12.5,138), rotation=pi/2))
wordline_driver.add(gdstk.Reference(metal1_via1_metal2_1x1, (12.5,138), rotation=pi/2))
wordline_driver.add(gdstk.Reference(metal2_via2_metal3_1x1, (12.5,138), rotation=pi/2))
wordline_driver.add(gdstk.Reference(metal1_via1_metal2_1x1, (12.5,147.2), rotation=pi/2))
wordline_driver.add(gdstk.Reference(metal2_via2_metal3_1x1, (12.5,147.2), rotation=pi/2))
wordline_driver.add(gdstk.Reference(metal1_via1_metal2_1x1, (12.5,147.2), rotation=pi/2))
wordline_driver.add(gdstk.Reference(metal2_via2_metal3_1x1, (12.5,147.2), rotation=pi/2))
wordline_driver.add(gdstk.Label('en_bar', (0.4,74), layer=51, texttype=0))
wordline_driver.add(gdstk.Label('in_0', (0,3.2), layer=49, texttype=0))
wordline_driver.add(gdstk.Label('wl_0', (15.7,4.8), layer=49, texttype=0))
wordline_driver.add(gdstk.Label('in_1', (0,16), layer=49, texttype=0))
wordline_driver.add(gdstk.Label('wl_1', (15.7,14.4), layer=49, texttype=0))
wordline_driver.add(gdstk.Label('in_2', (0,21.6), layer=49, texttype=0))
wordline_driver.add(gdstk.Label('wl_2', (15.7,23.2), layer=49, texttype=0))
wordline_driver.add(gdstk.Label('in_3', (0,34.4), layer=49, texttype=0))
wordline_driver.add(gdstk.Label('wl_3', (15.7,32.8), layer=49, texttype=0))
wordline_driver.add(gdstk.Label('in_4', (0,40), layer=49, texttype=0))
wordline_driver.add(gdstk.Label('wl_4', (15.7,41.6), layer=49, texttype=0))
wordline_driver.add(gdstk.Label('in_5', (0,52.8), layer=49, texttype=0))
wordline_driver.add(gdstk.Label('wl_5', (15.7,51.2), layer=49, texttype=0))
wordline_driver.add(gdstk.Label('in_6', (0,58.4), layer=49, texttype=0))
wordline_driver.add(gdstk.Label('wl_6', (15.7,60), layer=49, texttype=0))
wordline_driver.add(gdstk.Label('in_7', (0,71.2), layer=49, texttype=0))
wordline_driver.add(gdstk.Label('wl_7', (15.7,69.6), layer=49, texttype=0))
wordline_driver.add(gdstk.Label('in_8', (0,76.8), layer=49, texttype=0))
wordline_driver.add(gdstk.Label('wl_8', (15.7,78.4), layer=49, texttype=0))
wordline_driver.add(gdstk.Label('in_9', (0,89.6), layer=49, texttype=0))
wordline_driver.add(gdstk.Label('wl_9', (15.7,88), layer=49, texttype=0))
wordline_driver.add(gdstk.Label('in_10', (0,95.2), layer=49, texttype=0))
wordline_driver.add(gdstk.Label('wl_10', (15.7,96.8), layer=49, texttype=0))
wordline_driver.add(gdstk.Label('in_11', (0,108), layer=49, texttype=0))
wordline_driver.add(gdstk.Label('wl_11', (15.7,106.4), layer=49, texttype=0))
wordline_driver.add(gdstk.Label('in_12', (0,113.6), layer=49, texttype=0))
wordline_driver.add(gdstk.Label('wl_12', (15.7,115.2), layer=49, texttype=0))
wordline_driver.add(gdstk.Label('in_13', (0,126.4), layer=49, texttype=0))
wordline_driver.add(gdstk.Label('wl_13', (15.7,124.8), layer=49, texttype=0))
wordline_driver.add(gdstk.Label('in_14', (0,132), layer=49, texttype=0))
wordline_driver.add(gdstk.Label('wl_14', (15.7,133.6), layer=49, texttype=0))
wordline_driver.add(gdstk.Label('in_15', (0,144.8), layer=49, texttype=0))
wordline_driver.add(gdstk.Label('wl_15', (15.7,143.2), layer=49, texttype=0))
wordline_driver.add(gdstk.Label('vdd', (12.1,9.6), layer=62, texttype=0))
wordline_driver.add(gdstk.Label('vdd', (12.1,28), layer=62, texttype=0))
wordline_driver.add(gdstk.Label('vdd', (12.1,46.4), layer=62, texttype=0))
wordline_driver.add(gdstk.Label('vdd', (12.1,64.8), layer=62, texttype=0))
wordline_driver.add(gdstk.Label('vdd', (12.1,83.2), layer=62, texttype=0))
wordline_driver.add(gdstk.Label('vdd', (12.1,101.6), layer=62, texttype=0))
wordline_driver.add(gdstk.Label('vdd', (12.1,120), layer=62, texttype=0))
wordline_driver.add(gdstk.Label('vdd', (12.1,138.4), layer=62, texttype=0))
wordline_driver.add(gdstk.Label('gnd', (12.1,0.4), layer=62, texttype=0))
wordline_driver.add(gdstk.Label('gnd', (12.1,18.8), layer=62, texttype=0))
wordline_driver.add(gdstk.Label('gnd', (12.1,37.2), layer=62, texttype=0))
wordline_driver.add(gdstk.Label('gnd', (12.1,55.6), layer=62, texttype=0))
wordline_driver.add(gdstk.Label('gnd', (12.1,74), layer=62, texttype=0))
wordline_driver.add(gdstk.Label('gnd', (12.1,92.4), layer=62, texttype=0))
wordline_driver.add(gdstk.Label('gnd', (12.1,110.8), layer=62, texttype=0))
wordline_driver.add(gdstk.Label('gnd', (12.1,129.2), layer=62, texttype=0))
wordline_driver.add(gdstk.Label('gnd', (12.1,147.6), layer=62, texttype=0))

lib.write_gds('wordline_driver.gds')
